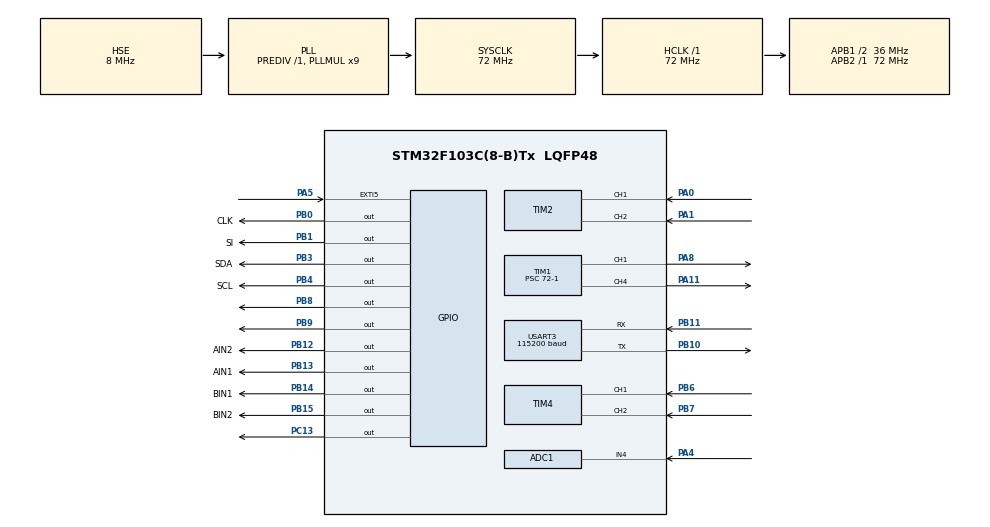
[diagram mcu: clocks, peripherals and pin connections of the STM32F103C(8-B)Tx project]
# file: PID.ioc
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ADC1.Channel-0\#ChannelRegularConversion=ADC_CHANNEL_4
ADC1.NbrOfConversionFlag=1
ADC1.Rank-0\#ChannelRegularConversion=1
ADC1.SamplingTime-0\#ChannelRegularConversion=ADC_SAMPLETIME_1CYCLE_5
ADC1.master=1
Mcu.Family=STM32F1
Mcu.Name=STM32F103C(8-B)Tx
Mcu.Package=LQFP48
NVIC.EXTI9_5_IRQn=true\:0\:0\:false\:false\:true\:true\:true\:true
NVIC.PriorityGroup=NVIC_PRIORITYGROUP_4
NVIC.TIM1_UP_IRQn=true\:0\:0\:false\:false\:true\:true\:true\:true
NVIC.TIM3_IRQn=true\:0\:0\:false\:false\:true\:true\:true\:true
NVIC.USART3_IRQn=true\:0\:0\:false\:false\:true\:true\:true\:true
PA0-WKUP.Signal=S_TIM2_CH1_ETR
PA1.Signal=S_TIM2_CH2
PA11.Signal=S_TIM1_CH4
PA13.Mode=Serial_Wire
PA13.Signal=SYS_JTMS-SWDIO
PA14.Mode=Serial_Wire
PA14.Signal=SYS_JTCK-SWCLK
PA4.Signal=ADCx_IN4
PA5.GPIO_ModeDefaultEXTI=GPIO_MODE_IT_FALLING
PA5.GPIO_PuPd=GPIO_PULLUP
PA5.Signal=GPXTI5
PA8.Signal=S_TIM1_CH1
PB0.GPIO_Label=CLK
PB0.GPIO_Speed=GPIO_SPEED_FREQ_LOW
PB0.Signal=GPIO_Output
PB1.GPIO_Label=SI
PB1.GPIO_Speed=GPIO_SPEED_FREQ_LOW
PB1.Signal=GPIO_Output
PB10.Mode=Asynchronous
PB10.Signal=USART3_TX
PB11.Mode=Asynchronous
PB11.Signal=USART3_RX
PB12.GPIO_Label=AIN2
PB12.Signal=GPIO_Output
PB13.GPIO_Label=AIN1
PB13.Signal=GPIO_Output
PB14.GPIO_Label=BIN1
PB14.Signal=GPIO_Output
PB15.GPIO_Label=BIN2
PB15.Signal=GPIO_Output
PB3.GPIO_Label=SDA
PB3.GPIO_ModeDefaultOutputPP=GPIO_MODE_OUTPUT_OD
PB3.GPIO_PuPd=GPIO_NOPULL
PB3.GPIO_Speed=GPIO_SPEED_FREQ_HIGH
PB3.PinState=GPIO_PIN_SET
PB3.Signal=GPIO_Output
PB4.GPIO_Label=SCL
PB4.GPIO_ModeDefaultOutputPP=GPIO_MODE_OUTPUT_OD
PB4.GPIO_PuPd=GPIO_NOPULL
PB4.GPIO_Speed=GPIO_SPEED_FREQ_HIGH
PB4.PinState=GPIO_PIN_SET
PB4.Signal=GPIO_Output
PB6.Signal=S_TIM4_CH1
PB7.Signal=S_TIM4_CH2
PB8.GPIO_ModeDefaultOutputPP=GPIO_MODE_OUTPUT_OD
PB8.GPIO_PuPd=GPIO_NOPULL
PB8.GPIO_Speed=GPIO_SPEED_FREQ_HIGH
PB8.Signal=GPIO_Output
PB9.GPIO_ModeDefaultOutputPP=GPIO_MODE_OUTPUT_OD
PB9.GPIO_PuPd=GPIO_NOPULL
PB9.GPIO_Speed=GPIO_SPEED_FREQ_HIGH
PB9.Signal=GPIO_Output
PC13-TAMPER-RTC.Signal=GPIO_Output
PC14-OSC32_IN.Mode=LSE-External-Oscillator
PC14-OSC32_IN.Signal=RCC_OSC32_IN
PC15-OSC32_OUT.Mode=LSE-External-Oscillator
PC15-OSC32_OUT.Signal=RCC_OSC32_OUT
PD0-OSC_IN.Mode=HSE-External-Oscillator
PD0-OSC_IN.Signal=RCC_OSC_IN
PD1-OSC_OUT.Mode=HSE-External-Oscillator
PD1-OSC_OUT.Signal=RCC_OSC_OUT
ProjectManager.HeapSize=0x200
ProjectManager.StackSize=0x400
ProjectManager.TargetToolchain=CMake
RCC.ADCPresc=RCC_ADCPCLK2_DIV6
RCC.AHBFreq_Value=72000000
RCC.APB1CLKDivider=RCC_HCLK_DIV2
RCC.APB1Freq_Value=36000000
RCC.APB1TimFreq_Value=72000000
RCC.APB2Freq_Value=72000000
RCC.APB2TimFreq_Value=72000000
RCC.HCLKFreq_Value=72000000
RCC.PLLMUL=RCC_PLL_MUL9
RCC.PLLSourceVirtual=RCC_PLLSOURCE_HSE
RCC.SYSCLKFreq_VALUE=72000000
RCC.SYSCLKSource=RCC_SYSCLKSOURCE_PLLCLK
RCC.USBFreq_Value=72000000
SH.ADCx_IN4.0=ADC1_IN4,IN4
SH.S_TIM1_CH1.0=TIM1_CH1,PWM Generation1 CH1
SH.S_TIM1_CH4.0=TIM1_CH4,PWM Generation4 CH4
SH.S_TIM2_CH1_ETR.0=TIM2_CH1,Encoder_Interface
SH.S_TIM2_CH2.0=TIM2_CH2,Encoder_Interface
SH.S_TIM4_CH1.0=TIM4_CH1,Encoder_Interface
SH.S_TIM4_CH2.0=TIM4_CH2,Encoder_Interface
TIM1.Channel-PWM\ Generation1\ CH1=TIM_CHANNEL_1
TIM1.Channel-PWM\ Generation4\ CH4=TIM_CHANNEL_4
TIM1.Period=100-1
TIM1.Prescaler=72-1
TIM1.Pulse-PWM\ Generation1\ CH1=100
TIM1.Pulse-PWM\ Generation4\ CH4=100
TIM2.EncoderMode=TIM_ENCODERMODE_TI12
TIM3.Period=10000-1
TIM3.Prescaler=72-1
TIM4.EncoderMode=TIM_ENCODERMODE_TI12
USART3.BaudRate=115200
USART3.VirtualMode=VM_ASYNC
VP_TIM1_VS_ClockSourceINT.Mode=Internal
VP_TIM3_VS_ClockSourceINT.Mode=Internal
board=custom

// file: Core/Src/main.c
/* USER CODE BEGIN Header */
/**
  ******************************************************************************
  * @file           : main.c
  * @brief          : Main program body
  ******************************************************************************
  * @attention
  *
  * Copyright (c) 2026 STMicroelectronics.
  * All rights reserved.
  *
  * This software is licensed under terms that can be found in the LICENSE file
  * in the root directory of this software component.
  * If no LICENSE file comes with this software, it is provided AS-IS.
  *
  ******************************************************************************
  */
/* USER CODE END Header */
#include "main.h"
#include "adc.h"
#include "tim.h"
#include "usart.h"
#include "gpio.h"

/* USER CODE BEGIN Includes */
#include "OLED.h"
#include "stm32f1xx_it.h"
#include "stdio.h"
#include <stdarg.h>
#include "myI2C.h"
#include "MPU6050.h"
#include "SR04.h"
#include "TB6612.h"
#include "encode.h"
#include "PID.h"
#include "ccd.h"
#include <math.h>
#include <string.h>
#include <stdlib.h>

#include "BlueSerial.h"
#include "car.h"
/* USER CODE END Includes */

/* USER CODE BEGIN PD */

/* ==========================================================================
 * PA5 用户按键：EXTI5 下降沿 -> 启动 / 停止 切换
 *
 * 分工（关键）：
 *   中断回调 只置 KeyFlag 就返回，耗时 < 2us，不碰电机、不读 I2C。
 *   主循环   消费 KeyFlag，再调 StartErect() / StopCar()。
 *
 * 为什么不能在中断里直接调 StartErect()：
 *   它内部 Angle_Realign() 有 300ms 阻塞（读 MPU6050，期间关掉 TIM3 中断），
 *   放进 ISR 会让 10ms 平衡节拍停摆 300ms，正在直立行驶的车会当场倒下。
 *
 * 消抖：机械按键抖动 5~20ms，窗口内重复边沿只认第一次。
 *       EXTI5 优先级 0（与 TIM1/TIM3 同级），所以 ISR 越短越好。
 * ========================================================================== */
#define KEY_DEBOUNCE_MS   50      /* 按键软消抖窗口(ms) */

/* 本地起立中止保护窗口(ms)：ErectTime 超过它仍未进入平衡就判"起立失败"，
 * 只供 main.c 的本地分支使用，所以定义在这里而不是 tim3_pid.c。 */
#define ERECT_ABORT_GUARD_MS 300

/* USER CODE END PD */

void SystemClock_Config(void);

/* USER CODE BEGIN 0 */

/* ==========================================================================
 *                    两轮自平衡小车  主控程序结构说明
 * ==========================================================================
 *
 * 硬件平台：STM32F103C8T6 @72MHz / MPU6050(模拟 I2C: PB3,PB4) / TB6612 + 双路电机
 *       OLED(模拟 I2C: PB8,PB9) / USART3 蓝牙串口(115200) / CCD 模拟量(ADC1_IN4) / PA5 按键输入
 *
 * 时基：全工程只有一个定时器中断 —— TIM3，入口 HAL_TIM_PeriodElapsedCallback()
 *
 *      TIM3  每 1 拍 hcount++，拍末按 CCD_Div 分频采一帧 CCD
 *      10ms  读 MPU6050 -> 姿态融合 -> 偏航积分 -> 直立环 / 起立环
 *      50ms  读编码器 -> 算速度 -> 速度环 + 转向环
 *
 *  TIM3 定时 10ms（tim.c: 预分频 72-1，Period = 10000-1）
 *      中断里的分频计数用 TICK_10MS / TICK_50MS 表示，改 TIM3 周期要同步改它们
 *      为什么用 10ms 而不是 1ms：get_CCD() 一帧约 0.7ms，1ms 拍会被它吃掉 70% 的
 *      时间余量，容易和中断撞车；拉长到 10ms 后每拍的 CCD 开销只占 7%
 *
 * 控制结构（串级 + 并联合成）：
 *
 *      速度环(50ms) -> AnglePID.Target（目标倾角）
 *                                -> 直立环(10ms) -> AvePWM
 *      转向环(50ms) -> TurnPID.Out + TURN_FF*Target -> DifPWM
 *                                -> LeftPWM  = AvePWM + DifPWM/2
 *                                   RightPWM = AvePWM - DifPWM/2
 *
 * 车的状态用 CarState 表示，上电 / 摔车 / 停车都回到 ST_IDLE。
 * 主循环(while(1)) 只做慢活：刷 OLED、跑串口协议、响应 PA5 按键。
 * 实时控制与 CCD 采集全部放在 TIM3 中断里 —— OLED_Update() 一次刷 1024 字节
 * 约 23ms，蓝牙 115200 波特发一帧(7 通道约 55 字节)约 4.8ms，最坏一圈主循环约 28ms，
 * 任何放进主循环的活都必须能容忍几十毫秒的延迟。
 * ========================================================================== */

volatile uint8_t CarState = ST_IDLE;

uint32_t hcount = 0, Count1 = 0;  /* TIM3 中断节拍分频计数(10ms/50ms 两种节拍)，定义在此、供 tim3_pid.c 使用 */

/* CCD 采样分频：每拍 +1，数到 CCD_Div 才采一帧
 * 实际周期 = CCD_Div x TIM3 周期(10ms)，与中断优先级无关。 */
uint16_t CCD_count = 0;
char display_buf[128];             /* 串口 [plot] 帧的格式化缓冲区，主循环里复用 */

/* 蓝牙接收的旧手写实现，已被 BlueSerial.c 取代，留作参考（勿清） */
//#define RX_BUF_SIZE  128
//char BlueSerial_RxPacket[RX_BUF_SIZE];   // 接收缓冲
//volatile uint8_t BlueSerial_RxFlag = 0;     // 帧接收标志位
//static uint8_t RxState = 0;                 // 状态机状态
//static uint16_t pRxPacket = 0;              // 当前写入位置

int16_t AX, AY, AZ, GX, GY, GZ;
volatile uint8_t TimerErrorFlag;
volatile uint16_t TimerCount;

float AngleAcc;
float AngleGyro;
float Angle;

float Yaw = 0.0f;                   /* 偏航角(度)：左转为正、右转为负 */
float YawRate = 0.0f;               /* 偏航角速度(°/s)：由 GZ 去零偏得到 */
float YawBias = YAW_BIAS_DPS;       /* 运行期 Z 轴零偏(°/s)：上电取标定值，ZUPT 在线更新 */
float PitchBiasDps = 0.0f;          /* 运行期 X 轴(俯仰)零偏(°/s)：由 Angle_Realign() 现场标定。
                                     * 没有上电初值 —— 俯仰零偏每次上电都不同，固定常量没有意义，
                                     * 必须现场测。0 = 不补偿 = 与旧固件数值等价。
                                     * 为什么不给 YAW_BIAS_DPS 那样的常量：Z 轴有出厂标定值可用，
                                     * X 轴从来没有，这也是它一直漂 3° 的原因，详见 tim3_pid.c
                                     * 的 PITCH_BIAS_ENABLE 注释。 */
float YawRatePrev = 0.0f;           /* 上一拍偏航角速度(°/s)：梯形积分用 */
float YawRateEnc = 0.0f;            /* 编码器几何推的偏航角速度(°/s)：无零偏，仅作参考 */
uint16_t ZuptCnt = 0;        /* ZUPT 判定窗口内的样本计数 */
float    ZuptSum = 0.0f;     /* ZUPT 窗口内角速度残差之和(°/s) */
float    ZuptSq  = 0.0f;     /* ZUPT 窗口内角速度残差平方和 */
int16_t LeftPWM, RightPWM;			// 左 PWM、右 PWM
int16_t AvePWM, DifPWM;				// 平衡 PWM、差速 PWM
volatile int16_t TestPWM = 0;		// 开环测试 PWM：仅在 ST_IDLE 生效，0=关闭；由 [slider,TestPWM,值] 写入（见 car.h）

volatile int16_t InnerLockModeNav = 2;	// 第四关 NAV 专用锁轮模式，★与 InnerLockMode 取值不同★；0=不锁 1/2/3 同 InnerLockMode；[slider,InnerLockNav,值] 在线切
									// ★ 2026-11-04 两态取不同值的理由：
									//   循迹直角(PIVOT) 用 InnerLockMode=2 —— 绕内轮接触点贴弯，要的是"转完线还在视场里"，
									//     车心平移 0.707 倍轮距是它换来的可重复性，可以接受。
									//   第四关(NAV) 用 0 —— 目标是"原地转向"：两只轮子必须反向，车心不动。
									//     模式A/B/C 全都建立在"一只轮子不动"上，几何上就是弧线，与原地转向互斥。
									//   11-04 日志实测：左轮=0、右轮被钳 0，两只轮子都不动，车 418 帧只转了 -21°。
volatile int16_t InnerLockMode = 2;	// 内轮强制不转(方案三)：0=关 1=只钳弱反转段 2=内轮钳0 3=内轮设下限；[slider,InnerLock,值] 在线切
									// 2026-11-01 实测模式2 可用，故默认取 2。10-28 那次"模式2 摔车"发生在
									// INNER_LOCK_MAX_AVE 门限加入之前：钳内轮会破坏 (L+R)/2==AvePWM，
									// 门限在 |AvePWM|>15 时放开内轮，该摔车条件已不成立。见 Ccd_Frame.h:56
									// 2026-11-02 默认仍为 2（模式3 内轮设下限待实测，见 Ccd_Frame.h 的 INNER_LOCK_FLOOR_*）：
									// 模式2 把内轮钉 0，但 11-01 的 158 帧日志显示转弯中内轮本就被负载拖到
									// 0.2~0.35 转/秒，钉 0 是多余的；给下限让它保持微转。
									// 回退：串口发 [slider,InnerLock,2] 立刻回模式2，不用重编。

float DifSpeedFilter = 0.0f;		// 转向角速度的一阶低通滤波值，抑制编码器量化噪声
float TurnTargetCmd  = 0.0f;		// 转向目标命令值：摇杆/循迹/直角各支路都写这里（期望值）
float TurnTargetRamp = 0.0f;		// 转向目标斜坡值：每 50ms 向 Cmd 限速逼近，实际喂给 TurnPID.Target
float SpeedTargetCmd  = 0.0f;		// 前进速度目标命令值(转/秒)：循迹那一支写这里
float SpeedTargetRamp = 0.0f;		// 斜坡后的前进速度：真正写进 SpeedPID.Target

volatile uint8_t TrackMode    = 0;  /* 0 = 摇杆转向，1 = CCD 循迹；'T'/'t' 或 PA5 按键切换 */
volatile uint8_t TrackLostCnt = 0;  /* 连续丢线帧数 */
volatile uint8_t TrackLineSeen = 0; /* 存在性：本帧画面里有没有黑线（与中线几何是否有效无关） */
volatile uint8_t darkCnt = 0;       /* 本帧可信区间([5,123))内的黑点数：>=TRACK_SEEN_MIN 即判"线还在画面里"。
                                     * 它是 TrackLineSeen 的输入，提成全局只为上报遥测，
                                     * 用来区分"真没线"和"有黑但几何校验没过"。 */
uint8_t TrackUnseenCnt = 0; /* 连续没见到线的帧数，与 TrackLineSeen 配合做丢线超时 */
int16_t TrackErrPrev = 0;    /* 上一帧(去极值后)的中线偏差，用来算偏差变化量做前转补偿 */

volatile uint8_t CornerState = CORNER_LINE;
volatile int8_t  CornerDir   = 0;   /* 本次直角的转向：+1 = 右转，-1 = 左转
                                     * 注意这是"转向"符号，不是"图像哪端发黑"：
                                     * Target = TRACK_DIR x CornerDir x PIVOT_RATE，
                                     * TRACK_DIR = +1（2026-10-30 翻回），所以
                                     *   +1 -> Target=+0.9 -> 右转
                                     *   -1 -> Target=-0.9 -> 左转
                                     * 已由 2026-11-01 的 T 路口日志确认：Target=-0.9 时
                                     * Yaw 由 -40.8 涨到 +42.9（净 +83.7°），确为左转。
                                     * 第四关(NAV)进入后本值会被改写成 +1（右转）。 */
volatile float   YawTurned   = 0.0f;/* 本次转角累计值(度)，进入 PIVOT 时清零 */
float    YawPrev     = 0.0f;        /* 上一拍的 Yaw，用来算增量 */
uint16_t PivotTicks  = 0;           /* 转弯计时(ms) */
uint8_t  CornerSeen  = 0;           /* 连续满足直角条件的帧数 */
uint8_t  TSeen       = 0;           /* 连续满足 T 字路口条件的帧数 */
uint8_t  PivotOk     = 0;           /* PIVOT 中连续抓到线的帧数（CCD 接管转弯的判据） */

/* ---- 第四关惯性导航的状态量（CORNER_NAV 期间有意义，见 car.h 的 NAV_PHASE_*）----
 * NavDist 用 float：800mm 量程下 float 的分辨率远小于 1mm 累积误差，
 *   里程是"累加"的量，用整数 mm 反而会每拍截断丢掉亚毫米，11 秒下来差出几毫米。 */
volatile uint8_t NavPhase       = NAV_PHASE_TURN;
volatile float   NavDist        = 0.0f;
volatile uint8_t NavStickerCnt  = 0;
volatile uint8_t NavStickerSeen = 0;
uint16_t NavTicks   = 0;
float    NavYawHold = 0.0f;
volatile uint8_t NavArmed = 1;      /* 上电即可进入；Track_Reset / PID_ResetAll 会重新置 1 */

/* ---- 实时位移（mm，带符号）----
 * 任何状态下每 50ms 累加 AveSpeed x 轮周长 x 0.05s：前进变大、后退变小；
 * IDLE 手推、ERECT 甩轮也计数。CarState / CornerState / NavPhase 任一变化就清零，
 * 所以 OLED 右下角显示的是"当前状态下的净位移"。 */
volatile float TravelMM = 0.0f;

uint16_t ErectTime = 0;			/* 本次 ERECT 已经跑了多少 ms，每 10ms 加一次；也用于 LED 闪烁 */
float LeftSpeed, RightSpeed;		/* 左/右轮速度（转/秒） */
float AveSpeed, DifSpeed;			/* 平均速度、差速 */

float G = 3.00f;						/* 角度计安装偏置(度)：车体物理直立时 Angle 实测约 -3.1°(11-01 串口日志巡航段均值 -3.09)，
 * 而 AngleAcc = 原始 atan2 + G，所以 G 必须取 +3 才能让"直立"读成 0。
 * 为什么非补不可：G=0 时速度环积分(ErrorIntMin=-15 x Ki=0.21 = -3.15°)被迫全程顶在负限幅
 * 去抵这 3°，超速时积分余量为 0，速度环约 0.69 转/秒就饱和成开环 —— 表现为"往前推就匀速
 * 冲、不刹车"。符号约定：G = -(直立时的 Angle 读数)，写成 -3 会变成 -6° 更糟。
 * slider G 仍可在线覆盖本值。 */

float BatVoltage = 0.0f;            /* 电池电压(V)：8 次平均 + IIR 平滑后的显示值 */

/* ---------- 三个 PID 的结构体：定义时直接给成员赋初值 ----------
 * 注意 PID_Update() 的两个行为（见 pid.c）：
 *   1) Ki==0 时积分项被强制清零
 *   2) 微分项用的是 (Actual - Actual1)，不是 (Error - Error1)，
 *      所以 Target 突变不会产生微分冲击 */
PID_t AnglePID =  					// 角度环：输入 Angle，输出 AvePWM（直立控制）
{
    .Kp = 16.9,						// 比例系数
    .Ki = 0.06,						// 积分系数
    .Kd = 30.4,						// 微分系数

    .OutMax = 80,					// 输出限幅 -> 最大 PWM 80
    .OutMin = -80,					// 输出限幅

	.OutOffset = 0,					// 输出偏置：抵消 Out 正负不对称造成的静态偏差

	.ErrorIntMax = 600,				// 积分限幅
	.ErrorIntMin = -600,			// 积分限幅

};
PID_t SpeedPID =  					// 速度环：输入 AveSpeed(转/秒)，输出 AnglePID.Target(目标倾角)
{
    .Kp = 2.7,						// 比例系数
    .Ki = 0.21,						// 积分系数
    .Kd = 0,						// 微分系数

    .OutMax = 5,					// 输出限幅 5 度：太大车会大幅前后倾，5 度约合 10 个脉冲
    .OutMin = -5,

	.ErrorIntMax = 10,				// 积分限幅
	.ErrorIntMin = -15,			// 积分限幅

};
PID_t TurnPID =  					// 转向环：输入差速，输出 DifPWM
{
    .Kp = 5.9,						// 比例系数
    .Ki = 0,						// Ki=0 -> 无积分，避免转向积分饱和
    .Kd = 0,						// 微分系数

    .OutMax = 30,					// 输出限幅
    .OutMin = -30,

	.ErrorIntMax = 20,				// 积分限幅
	.ErrorIntMin = -20,				// 积分限幅

};

volatile uint8_t KeyFlag = 0;     /* 1 = 有一次有效按键；主循环消费后清零 */

void HAL_GPIO_EXTI_Callback(uint16_t GPIO_Pin)
{
    static uint32_t KeyTick = 0;
    uint32_t now;

    if (GPIO_Pin != GPIO_PIN_5)
    {
        return;                   /* 本工程目前只有 PA5 走 EXTI */
    }

    now = HAL_GetTick();
    if ((uint32_t)(now - KeyTick) >= KEY_DEBOUNCE_MS)
    {
        KeyTick = now;
        KeyFlag = 1;
    }
}

/* ==========================================================================
 * ===== 以下三个函数只被主循环调用（慢路径，容忍几十毫秒延迟）=====
 * ========================================================================== */

/* USER CODE END 0 */

int main(void)
{

  /* MCU Configuration--------------------------------------------------------*/

  /* Reset of all peripherals, Initializes the Flash interface and the Systick. */
  HAL_Init();

  /* Configure the system clock */
  SystemClock_Config();

  /* Initialize all configured peripherals */
  MX_GPIO_Init();
  MX_TIM3_Init();
  MX_TIM1_Init();
  MX_TIM2_Init();
  MX_TIM4_Init();
  MX_USART3_UART_Init();
  MX_ADC1_Init();
  /* USER CODE BEGIN 2 */
    /* PA7 -> ADC1_IN7 模拟输入：电池 10k/2.7k 分压检测(见 Bat_ReadVoltage 上方注释) */
    {
        GPIO_InitTypeDef gpioBat = {0};
        gpioBat.Pin = GPIO_PIN_7;
        gpioBat.Mode = GPIO_MODE_ANALOG;
        HAL_GPIO_Init(GPIOA, &gpioBat);
    }

    HAL_Delay(200);   // 给 OLED 上电留点时间，否则首帧显示异常
    OLED_Init();
    OLED_Clear();

    MPU6050_Init();
    Angle_Realign();   /* 上电只做一次角度对准(静止时有效)；不做的话互补滤波要十几秒才收敛，
                        * 期间收到 "1" 会用错误的起点角度甩轮，容易把车甩倒。 */
    HAL_TIM_PWM_Start(&htim1, TIM_CHANNEL_1);
    HAL_TIM_PWM_Start(&htim1, TIM_CHANNEL_4);
    HAL_TIM_Encoder_Start(&htim2, TIM_CHANNEL_ALL);
    HAL_TIM_Encoder_Start(&htim4, TIM_CHANNEL_ALL);
    Ccd_Init();          /* CCD 上电钳电平：CLK=H, SI=L，之后 RD_TSL() 每帧先补一个复位脉冲。
                          * 不然第一个时钟的前几个像素会被上次的残留电平带偏。 */
    BlueSerial_Init();   // 初始化蓝牙接收（USART3 + 接收中断）
    HAL_TIM_Base_Start(&htim3);
    (void)MPU6050_GetID();  /* 读 WHO_AM_I(0x68=在线)：上电顺手探一次 I2C 应答，
                             * 返回值暂不用；需要确认传感器时把它显示到 OLED 即可。 */
    OLED_Update();
    /* 先清零计数器 + 清掉 UG 产生的 UIF，再开中断。
     *
     * 原因：上一步 MX_TIM3_Init() 的注释说"确保开中断之前计数器是干净的"，
     * 但真正去做这事的是 TIM_Base_SetConfig()，它会置一次 TIMx->EGR = TIM_EGR_UG
     * 把计数器归零，顺带把 UIF 置起来；而 HAL_TIM_Base_Start_IT() 只开 UIE，不清标志。
     * 如果带着 UIE 开中断，就会立刻进一次中断，那时 AnglePID 还没初始化。
     * 这一步之后 ST_IDLE 分支只写 PWM=0，不会有任何输出，所以前面是安全的；
     * 而且不能再调一次 HAL 的初始化接口，因为 HAL_TIM_Base_Init 时状态已经是 BUSY。
     * 所以直接写 CNT 寄存器 + 显式清标志，等价于"开中断前确实没有挂起的中断"。 */
    __HAL_TIM_SET_COUNTER(&htim3, 0);
    __HAL_TIM_CLEAR_FLAG(&htim3, TIM_FLAG_UPDATE);
    HAL_TIM_Base_Start_IT(&htim3);   /* 10ms update interrupt：tim.c: Period = 10000-1 */
    PID_Init(&AnglePID);
    PID_Init(&SpeedPID);
    PID_Init(&TurnPID);

    CarState = ST_IDLE;          /* 上电默认：整车断电，等 "1" 或按键启动 */

    // 预置角度环的实际值
    AnglePID.Actual = Angle;
    AnglePID.Actual1 = Angle;   // 同上：预置上次实测值，防止微分项第一次就冲击
    AnglePID.Error0 = AnglePID.Target - AnglePID.Actual;
    AnglePID.Error1 = AnglePID.Error0;
  /* USER CODE END 2 */

  /* Infinite loop */
  /* USER CODE BEGIN WHILE */
    while (1)
    {
        int len;
//	TB6612_setPWM(1,-50);
//	TB6612_setPWM(2,-50);

        /* 状态指示灯：PC13 的板载 LED
         *   熄灭 = IDLE 停车     闪烁 = ERECT 起立中     常亮 = BALANCE 直立行驶
         *   闪烁用 ErectTime/150 取反，每 150ms 翻一次 */
        {
            uint8_t ledOff;
            if (CarState == ST_BALANCE)     ledOff = 0;
            else if (CarState == ST_ERECT)  ledOff = (uint8_t)((ErectTime / 150u) & 1u);
            else                            ledOff = 1;
            HAL_GPIO_WritePin(GPIOC, GPIO_PIN_13, ledOff ? GPIO_PIN_SET : GPIO_PIN_RESET);
        }

        /* 整屏状态渲染（布局注释见 OLED_RenderStatus 函数头）：刷新 + 电池巡检 */
        OLED_RenderStatus();

        /* ---- 蓝牙命令：两种发法都支持 ----
         *   裸字节（不进方括号）：'1' = 起立   '0' = 急停   'T'/'t' = 切换循迹
         *   打包（App/上位机）：[1] / [0] / [t] 与上面等价，
         *                      另外还有 [key,...] [slider,...] [joystick,...]
         *
         * 注意大小写：裸字节 'T' 和 't' 都能切换，但包里的 Tag 只认小写 "t"，
         *   "[T]" 不会生效 —— BlueSerial.c 只捕获 '0'/'1'/'T'/'t' 四种裸字节，
         *   而包内容是按 Tag 逐个 strcmp 的，大写 T 没有对应分支。
         *   要支持 "[T]" 得在这里再加一支。 */
        /* ---- PA5 用户按键：三段循环  启动 -> 循迹 -> 关闭 -> 回到启动 ----
         * 中断只置标志，这里消费（原因见 HAL_GPIO_EXTI_Callback 上方注释）。
         *
         * 不额外记一个 KeyStage 变量，而是直接从 CarState + TrackMode 推：
         *   ① IDLE                     -> StartErect()   甩轮起立
         *   ② BALANCE 且 TrackMode==0  -> TrackMode=1    进循迹
         *   ③ BALANCE 且 TrackMode==1  -> StopCar()      关循迹+停车 -> 回 IDLE
         *   ④ ERECT                    -> StopCar()      放弃起立 -> 回 IDLE
         * 这样"按键走到第几段"和"车真实处于哪一步"永远是同一份数据，
         * 不会出现两边打架、按了第四次却还停在第二段的情形。
         *
         * OLED 对照（第 0 行 ST: + 第 7 行 TRK）：
         *   ST:IDLE        -> 等第①击
         *   ST:BAL + TRK-  -> 等第②击
         *   ST:BAL + TRK!  -> 等第③击
         *
         * ST_ERECT（起立中）的按键 = 放弃起立（第④击），不再无视：
         *   生效门槛 ErectTime >= ERECT_ABORT_GUARD_MS(300)。
         *   StartErect() 内部 Angle_Realign() 有 300ms 阻塞，这段里车完全不动，
         *   很容易被当成"没响应"再按一次；那次 KeyFlag 会在 StartErect 返回后
         *   立刻被消费，而此刻 ErectTime 还是 0 —— 没有门槛的话，刚甩起来的车
         *   会被这一下直接按停。 */
        if (KeyFlag)
        {
            KeyFlag = 0;

            if (CarState == ST_IDLE)
            {
                /* ① 起立。顺手关掉循迹：上一轮若是摔车/超时从 ST_BALANCE
                 * 掉回来的，StopCar() 已经清过 TrackMode；这里再写一次是让
                 * "起立时不带循迹"这条约束在代码上看得见（双保险）。 */
                TrackMode    = 0;
                TrackLostCnt = 0;
                StartErect();
            }
            else if (CarState == ST_BALANCE)
            {
                if (!TrackMode)
                {
                    /* ② 进循迹：状态清零逻辑见 Track_Reset() 注释 */
                    Track_Reset(1u);
                }
                else
                {
                    /* ③ 关循迹 + 停车。TrackLostCnt 与 TurnPID.Target 由
                     * StopCar() -> PID_ResetAll() 一并清掉，这里只说意图。 */
                    TrackMode = 0;
                    StopCar();
                }
            }
            else
            {
                /* ④ 放弃起立。门槛见上方注释：ErectTime 是进入 ERECT 后的毫秒
                 * 计数（StartErect 里清零、10ms 节拍里累加），用来挡掉 ① 之后
                 * 那段 300ms 阻塞期里"以为没响应"的第二次按键。
                 *
                 * StopCar() 会一并清掉 TrackMode / TrackLostCnt / ErectTime，
                 * 所以放弃起立后必定回到干净的 IDLE，下次按键还是从第①击开始。 */
                if (ErectTime >= ERECT_ABORT_GUARD_MS)
                {
                    StopCar();
                }
            }
        }
        if (BlueSerial_CmdFlag)
        {
            char cmd = BlueSerial_CmdChar;
            BlueSerial_CmdFlag = 0;
            if      (cmd == '1') { StartErect(); }
            else if (cmd == '0') { StopCar(); }
            else if (cmd == 'T' || cmd == 't')
            {
                /* 切换循迹开关（状态清零逻辑见 Track_Reset 注释） */
                Track_Reset(!TrackMode);
            }
        }

        /* 轮询接收缓冲，处理收到的 [包]（分派逻辑见 Blue_ProcessPackets 函数头） */
        Blue_ProcessPackets();

        /* ---------- 上位机链路：蓝牙调试口（可选）---------*/
        /* ★ 2026-11-04 第 13~15 列：把"到底在哪个状态、用的哪套锁轮"直接打出来。
         *   之前判断"NAV 里为什么还在锁轮"只能靠猜，因为日志里看不到 CornerState。
         *   第13列 CornerState   0=LINE 1=PIVOT 2=NAV
         *   第14列 NavPhase      0=TURN 1=RUN 2=STOP（只在 CornerState==2 时有意义）
         *   第15列 本帧实际生效的锁轮模式：
         *         NAV 时 = InnerLockModeNav，其它状态 = InnerLockMode
         *         看到这一列是 2 而你以为应该是 0，就说明状态没进 NAV 或固件没重编。 */
        len = sprintf(display_buf, "[plot:%f,%f,\t%d,%d,\t%d,%d,\t%f,%f,%.6f,%.6f,%d,%f,\t%d,%d,%d\n]",
TurnPID.Target,TurnPID.Actual1,LeftPWM,RightPWM,DifPWM,AvePWM,Angle,Yaw,RightSpeed,LeftSpeed,GX,SpeedPID.Target,//第12列 SpeedPID.Target：区分"有人在命令前进"与"外环符号反"
(int)CornerState,(int)NavPhase,(int)((CornerState == CORNER_NAV) ? InnerLockModeNav : InnerLockMode));
//        len = sprintf(display_buf, "[plot:%f,%f,%f,%.2f,%d,%d,%d,%d,%d,%d,%d,%d\n]",AveSpeed, SpeedPID.Target, SpeedPID.Out, Angle,
//darkCnt, TrackLineSeen, CCD_Lost, CCD_Width, CCD_Zhongzhi,LeftPWM,RightPWM,AvePWM);//,TurnPID.Target,TurnPID.Actual1,DifPWM,AngleGX,GZ,%dGZ,DifSpeed,DifPWM,Angle
        HAL_UART_Transmit(&huart3, (uint8_t *)display_buf, (uint16_t)len, 100);

//      CCD_SendFrame();        /* 270 字节: '*LD' + 264 hex + '00' + '#' */
    }

    /* USER CODE END WHILE */

}

void SystemClock_Config(void)
{
  RCC_OscInitTypeDef RCC_OscInitStruct = {0};
  RCC_ClkInitTypeDef RCC_ClkInitStruct = {0};
  RCC_PeriphCLKInitTypeDef PeriphClkInit = {0};

  /** Initializes the RCC Oscillators according to the specified parameters
  * in the RCC_OscInitTypeDef structure.
  */
  RCC_OscInitStruct.OscillatorType = RCC_OSCILLATORTYPE_HSE;
  RCC_OscInitStruct.HSEState = RCC_HSE_ON;
  RCC_OscInitStruct.HSEPredivValue = RCC_HSE_PREDIV_DIV1;
  RCC_OscInitStruct.HSIState = RCC_HSI_ON;
  RCC_OscInitStruct.PLL.PLLState = RCC_PLL_ON;
  RCC_OscInitStruct.PLL.PLLSource = RCC_PLLSOURCE_HSE;
  RCC_OscInitStruct.PLL.PLLMUL = RCC_PLL_MUL9;
  if (HAL_RCC_OscConfig(&RCC_OscInitStruct) != HAL_OK)
  {
    Error_Handler();
  }

  /** Initializes the CPU, AHB and APB buses clocks
  */
  RCC_ClkInitStruct.ClockType = RCC_CLOCKTYPE_HCLK|RCC_CLOCKTYPE_SYSCLK
                              |RCC_CLOCKTYPE_PCLK1|RCC_CLOCKTYPE_PCLK2;
  RCC_ClkInitStruct.SYSCLKSource = RCC_SYSCLKSOURCE_PLLCLK;
  RCC_ClkInitStruct.AHBCLKDivider = RCC_SYSCLK_DIV1;
  RCC_ClkInitStruct.APB1CLKDivider = RCC_HCLK_DIV2;
  RCC_ClkInitStruct.APB2CLKDivider = RCC_HCLK_DIV1;

  if (HAL_RCC_ClockConfig(&RCC_ClkInitStruct, FLASH_LATENCY_2) != HAL_OK)
  {
    Error_Handler();
  }
  PeriphClkInit.PeriphClockSelection = RCC_PERIPHCLK_ADC;
  PeriphClkInit.AdcClockSelection = RCC_ADCPCLK2_DIV6;
  if (HAL_RCCEx_PeriphCLKConfig(&PeriphClkInit) != HAL_OK)
  {
    Error_Handler();
  }
}

void Error_Handler(void)
{
    __disable_irq();
    while (1)
    {
    }
}
